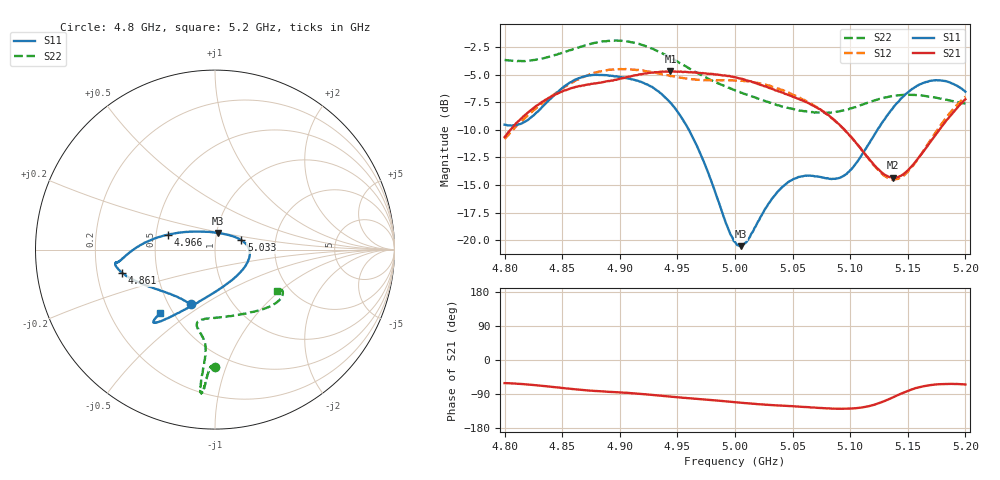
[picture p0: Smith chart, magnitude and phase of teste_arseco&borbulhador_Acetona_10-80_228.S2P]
! Network Analyzer HP8722D
! Hewlett-Packard
! Data name: Linha & Wilkinson
! Saver's name: Rodrigo Anjos
! Comments: Teste da utilização de aquisição
! continua pelo VNA HP8722D
! Time and date: 17/4/2025 16:15
!  Frequency  S11  S21  S12  S22
# HZ  S  MA R 50
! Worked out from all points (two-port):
!   401 points, 4.8 GHz to 5.2 GHz, reference 50 ohm
!   highest |S21| = -4.69 dB at 4.944 GHz (marker M1); lowest = -14.4 dB at 5.137 GHz (marker M2)
!   |S21| within 3 dB of the highest: 4.83 GHz to 5.066 GHz (236.2 MHz wide, 4.77 % of centre); 5.195518 GHz to end of sweep
!   lowest |S11| = -20.6 dB at 5.005 GHz (marker M3), VSWR 1.21, Z = 50.6 + j9.46 ohm
!   |S11| at or under -10 dB: 4.96 GHz to 5.124 GHz (163.6 MHz wide, 3.25 % of centre)
!   |S22| runs from -8.5 to -1.9 dB; largest |S21 - S12| = 0.87
!   S11 on the Smith chart (normalised r, x): 4.8 GHz: 0.64, -0.44; 4.861 GHz: 0.31, -0.11; 4.966 GHz: 0.58, +0.10; 5.033 GHz: 1.34, +0.14; 5.2 GHz: 0.42, -0.39
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4.8e9  0.3339 -113.8  0.2934 -61.0  0.2873 -175.2  0.6565 -90.2
4.819e9  0.3482 -133.9  0.3741 -64.3  0.3625 -174.0  0.6515 -91.8
4.861e9  0.5337 -165.9  0.494 -77.3  0.5277 -177.2  0.7376 -94.1
4.867e9  0.5486 -168.3  0.5018 -79.0  0.5435 -178.2  0.7552 -94.2
4.899e9  0.5501 -172.7  0.5366 -85.5  0.5955 175.2  0.8019 -95.6
4.934e9  0.4708 -178.7  0.5784 -93.8  0.5716 171.6  0.714 -95.9
4.944e9  0.4199 176.8  0.5826 -96.7  0.5543 171.7  0.6724 -95.8
4.966e9  0.274 162.3  0.5758 -102.3  0.5339 173.6  0.5771 -95.2
5e9  0.09801 98.9  0.5483 -111.3  0.5297 175.9  0.4775 -99.2
5.005e9  0.09385 80.8  0.5398 -112.7  0.5274 175.8  0.4664 -100.5
5.011e9  0.1 60.6  0.5288 -114.2  0.5253 175.7  0.4555 -101.7
5.033e9  0.156 19.6  0.4833 -119.1  0.4944 174.4  0.4152 -103.5
5.049e9  0.1868 3.6  0.45 -121.8  0.4602 173.9  0.3951 -99.8
5.067e9  0.1957 -15.7  0.4093 -125.3  0.4132 173.5  0.381 -90.2
5.085e9  0.1897 -44.0  0.3551 -128.3  0.3541 173.4  0.3809 -76.7
5.097e9  0.1997 -68.3  0.3081 -128.5  0.3085 174.7  0.3907 -66.9
5.122e9  0.3066 -107.5  0.216 -116.9  0.2142 -171.5  0.4314 -49.3
5.134e9  0.3786 -117.3  0.1932 -103.0  0.1901 -155.9  0.4476 -43.0
5.137e9  0.3963 -119.1  0.1916 -98.8  0.1886 -151.1  0.4507 -41.7
5.15e9  0.4676 -124.9  0.207 -81.6  0.2039 -131.3  0.4561 -36.9
5.17e9  0.5281 -129.4  0.2807 -66.1  0.2856 -112.3  0.4467 -32.1
5.2e9  0.4712 -131.0  0.4353 -64.7  0.4475 -106.7  0.4154 -33.6
